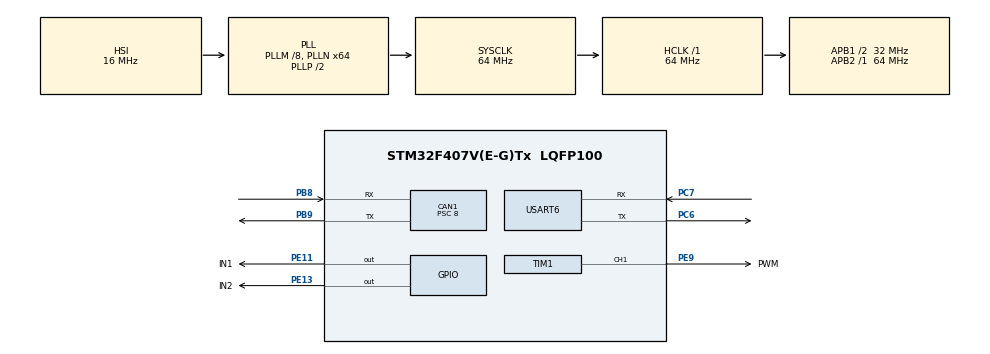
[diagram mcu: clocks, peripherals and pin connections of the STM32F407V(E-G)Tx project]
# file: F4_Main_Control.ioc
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CAN1.ABOM=ENABLE
CAN1.BS1=CAN_BS1_6TQ
CAN1.CalculateBaudRate=500000
CAN1.CalculateTimeBit=2000
CAN1.CalculateTimeQuantum=250.0
CAN1.NART=ENABLE
CAN1.Prescaler=8
Mcu.Family=STM32F4
Mcu.Name=STM32F407V(E-G)Tx
Mcu.Package=LQFP100
NVIC.CAN1_RX0_IRQn=true\:2\:0\:true\:false\:true\:true\:true\:true
NVIC.CAN1_RX1_IRQn=true\:2\:0\:true\:false\:true\:true\:true\:true
NVIC.CAN1_SCE_IRQn=true\:2\:0\:true\:false\:true\:true\:true\:true
NVIC.CAN1_TX_IRQn=true\:2\:0\:true\:false\:true\:true\:true\:true
NVIC.PriorityGroup=NVIC_PRIORITYGROUP_4
NVIC.TIM2_IRQn=true\:3\:0\:true\:false\:true\:true\:true\:true
PA13.Mode=Serial_Wire
PA13.Signal=SYS_JTMS-SWDIO
PA14.Mode=Serial_Wire
PA14.Signal=SYS_JTCK-SWCLK
PB8.Mode=CAN_Activate
PB8.Signal=CAN1_RX
PB9.Mode=CAN_Activate
PB9.Signal=CAN1_TX
PC6.Mode=Asynchronous
PC6.Signal=USART6_TX
PC7.Mode=Asynchronous
PC7.Signal=USART6_RX
PE11.GPIO_Label=IN1
PE11.Signal=GPIO_Output
PE13.GPIO_Label=IN2
PE13.Signal=GPIO_Output
PE9.GPIO_Label=PWM
PE9.Signal=S_TIM1_CH1
PH0-OSC_IN.Mode=HSE-External-Oscillator
PH0-OSC_IN.Signal=RCC_OSC_IN
PH1-OSC_OUT.Mode=HSE-External-Oscillator
PH1-OSC_OUT.Signal=RCC_OSC_OUT
ProjectManager.HeapSize=0x200
ProjectManager.StackSize=0x400
ProjectManager.TargetToolchain=Makefile
RCC.48MHZClocksFreq_Value=32000000
RCC.AHBFreq_Value=64000000
RCC.APB1CLKDivider=RCC_HCLK_DIV2
RCC.APB1Freq_Value=32000000
RCC.APB1TimFreq_Value=64000000
RCC.APB2Freq_Value=64000000
RCC.APB2TimFreq_Value=64000000
RCC.CortexFreq_Value=64000000
RCC.HCLKFreq_Value=64000000
RCC.HSE_VALUE=25000000
RCC.HSI_VALUE=16000000
RCC.LSE_VALUE=32768
RCC.PLLM=8
RCC.PLLN=64
RCC.SYSCLKFreq_VALUE=64000000
RCC.SYSCLKSource=RCC_SYSCLKSOURCE_PLLCLK
RCC.VCOOutputFreq_Value=128000000
SH.S_TIM1_CH1.0=TIM1_CH1,PWM Generation1 CH1
TIM1.Channel-PWM\ Generation1\ CH1=TIM_CHANNEL_1
TIM1.CounterMode=TIM_COUNTERMODE_UP
TIM1.Period=999
TIM1.Prescaler=63
TIM2.Period=999
TIM2.Prescaler=639
USART6.VirtualMode=VM_ASYNC
VP_TIM2_VS_ClockSourceINT.Mode=Internal
board=custom

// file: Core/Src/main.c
/* USER CODE BEGIN Header */
/**
  ******************************************************************************
  * @file           : main.c
  * @brief          : Main program body
  ******************************************************************************
  * @attention
  *
  * Copyright (c) 2025 STMicroelectronics.
  * All rights reserved.
  *
  * This software is licensed under terms that can be found in the LICENSE file
  * in the root directory of this software component.
  * If no LICENSE file comes with this software, it is provided AS-IS.
  *
  ******************************************************************************
  */
/* USER CODE END Header */
#include "main.h"

/* USER CODE BEGIN Includes */
#include "timer_software.h"
#include "stdio.h"
#include "string.h"
#include "stdlib.h"
#include "math.h"
#include <stdbool.h>
/* USER CODE END Includes */

CAN_HandleTypeDef hcan1;

TIM_HandleTypeDef htim1;
TIM_HandleTypeDef htim2;

UART_HandleTypeDef huart6;

void SystemClock_Config(void);
static void MX_GPIO_Init(void);
static void MX_CAN1_Init(void);
static void MX_TIM1_Init(void);
static void MX_TIM2_Init(void);
static void MX_USART6_UART_Init(void);
/* USER CODE BEGIN PFP */
#define V_MIN 0.5     // V min của TPS
#define V_MAX 2.97     // V_max TPS
#define ADC_MAX 4095
#define V_SUM 3.3f       // V_sum TPS
#define DT 0.001

float setpoint;      // Vị trí mong muốn (%)
float position;      // Vị trí thực tế (%)
float error;         // Lỗi (%)
float integral;      // Thành phần tích phân
float derivative;    // Thành phần đạo hàm
float previous_error;// Lỗi trước đó
float Kp;            // Hệ số tỉ lệ
float Ki;            // Hệ số tích phân
float Kd;          // Hệ số đạo hàm
float output;        // �?ầu ra PID (%)
volatile bool sensor_error = false; // C�? lỗi cảm biến
uint16_t TPS1;
uint16_t TPS2;

//----------------------------------------------------Control--------------------------------------------------

float adc_to_voltage(uint32_t adc_value) {
    return (float)adc_value * 3.3 / ADC_MAX; // Chuyển đổi giá trị ADC sang điện áp
}

float calculate_position(uint16_t adc_value) {
    float voltage = adc_to_voltage(adc_value);
    float position = (voltage - V_MIN) / (V_MAX - V_MIN) * 100;
    if (position < 0) position = 0;
    if (position > 100) position = 100;
    return position;
}

void PID_control() {
    error = setpoint - position;
    integral += error * DT;
    if (integral > 1000.0f) integral = 1000.0f;
    if (integral < -1000.0f) integral = -1000.0f;
    derivative = (error - previous_error) / DT;
    output = Kp * error + Ki * integral + Kd * derivative;
    previous_error = error;
    if (output > 100.0f) output = 100.0f;
    if (output < -100.0f) output = -100.0f;
}

void control_motor(float output) {
    if (output > 0) {
        HAL_GPIO_WritePin(IN1_GPIO_Port, IN1_Pin, GPIO_PIN_SET);
        HAL_GPIO_WritePin(IN2_GPIO_Port, IN2_Pin, GPIO_PIN_RESET);
        __HAL_TIM_SET_COMPARE(&htim1, TIM_CHANNEL_1, (uint16_t)(output * 10));
    } else if (output < 0) {
        HAL_GPIO_WritePin(IN1_GPIO_Port, IN1_Pin, GPIO_PIN_RESET);
        HAL_GPIO_WritePin(IN2_GPIO_Port, IN2_Pin, GPIO_PIN_SET);
        __HAL_TIM_SET_COMPARE(&htim1, TIM_CHANNEL_1, (uint16_t)(-output * 10));
    } else {
        HAL_GPIO_WritePin(IN1_GPIO_Port, IN1_Pin, GPIO_PIN_RESET);
        HAL_GPIO_WritePin(IN2_GPIO_Port, IN2_Pin, GPIO_PIN_RESET);
        __HAL_TIM_SET_COMPARE(&htim1, TIM_CHANNEL_1, 0);    // PWM = 0
    }
}

//---------------------------------------------CAN--------------------------------------------------

void debug_print(const char* msg) {
    HAL_UART_Transmit(&huart6, (uint8_t*)msg, strlen(msg), HAL_MAX_DELAY);
}
void CAN_Filter_Config(void) {
	CAN_FilterTypeDef filter;
	filter.FilterActivation = ENABLE;
	filter.FilterBank = 0;
	filter.FilterFIFOAssignment = CAN_RX_FIFO0;
	filter.FilterIdHigh = 0x100<<5;
	filter.FilterIdLow = 0x0000;
	filter.FilterMaskIdHigh = 0x100<<5;
	filter.FilterMaskIdLow = 0x0000;
	filter.FilterMode = CAN_FILTERMODE_IDMASK;
	filter.FilterScale = CAN_FILTERSCALE_32BIT;

	HAL_CAN_ConfigFilter(&hcan1, &filter);

  // Bộ l�?c cho ID 0x123 (FilterBank 1)
    filter.FilterBank = 1;                      // Sử dụng FilterBank 1
    filter.FilterMode = CAN_FILTERMODE_IDLIST;   // Chế độ danh sách ID
    filter.FilterScale = CAN_FILTERSCALE_32BIT;  // Quy mô bộ l�?c 32-bit
    filter.FilterIdHigh = 0x101 << 5;           // ID 0x123 (dịch trái 5 bit)
    filter.FilterIdLow = 0;                     // Không sử dụng ID thứ hai
    filter.FilterMaskIdHigh = 0x101<<5;                // Không dùng mặt nạ
    filter.FilterMaskIdLow = 0;                 // Không dùng mặt nạ
    filter.FilterFIFOAssignment = CAN_RX_FIFO0; // Gán vào FIFO0
    filter.FilterActivation = ENABLE;           // Kích hoạt bộ l�?c
    if (HAL_CAN_ConfigFilter(&hcan1, &filter) != HAL_OK) {
        debug_print("CAN Filter Config Failed (Bank 1)\r\n");
        Error_Handler();
    }

}

CAN_RxHeaderTypeDef rx_header;
void HAL_CAN_TxMailbox0CompleteCallback(CAN_HandleTypeDef *hcan)
{
		char buff[50];
		sprintf(buff, "Message Transmitted: M0\n");
		HAL_UART_Transmit(&huart6, (uint8_t *)buff, strlen(buff), HAL_MAX_DELAY);

}
void HAL_CAN_TxMailbox1CompleteCallback(CAN_HandleTypeDef *hcan)
{
		char buff[50];
		sprintf(buff, "Message Transmitted: M1\n");
		HAL_UART_Transmit(&huart6, (uint8_t *)buff, strlen(buff), HAL_MAX_DELAY);
}
void HAL_CAN_TxMailbox2CompleteCallback(CAN_HandleTypeDef *hcan)
{
		char buff[50];
		sprintf(buff, "Message Transmitted: M2\n");
		HAL_UART_Transmit(&huart6, (uint8_t *)buff, strlen(buff), HAL_MAX_DELAY);
}
void HAL_CAN_RxFifo0MsgPendingCallback(CAN_HandleTypeDef *hcan) {

    uint8_t rx_data[4];
    char msg[80];

    if (HAL_CAN_GetRxMessage(hcan, CAN_RX_FIFO0, &rx_header, rx_data) == HAL_OK) {
        if (rx_header.StdId == 0x100) {
            TPS1 = (rx_data[1] << 8) | rx_data[0];
            TPS2 = (rx_data[3] << 8) | rx_data[2];
            snprintf(msg, sizeof(msg), "Received TPS1=%u, TPS2=%u\r\n", TPS1, TPS2);
            debug_print(msg);
        }
        else if (rx_header.StdId == 0x101) {
            setpoint = rx_data[0];
            Ki = rx_data[1];
            Kp = rx_data[2];
            Kd = rx_data [3];

            Ki = Ki*10/256;
            Kp = Kp*10/256;
            Kd = Kd*10/256;
            snprintf(msg, sizeof(msg), "CAN: setpoint=%.2f, Ki=%.2f, Kp=%.2f, Ki=%.2f\r\n", setpoint, Kd, Kp, Ki);
            debug_print(msg);
        }
    }
}

void HAL_TIM_PeriodElapsedCallback(TIM_HandleTypeDef *htim) {
  timer_run();
}

/* USER CODE END PFP */

int main(void)
{

  /* MCU Configuration--------------------------------------------------------*/

  /* Reset of all peripherals, Initializes the Flash interface and the Systick. */
  HAL_Init();

  /* Configure the system clock */
  SystemClock_Config();

  /* Initialize all configured peripherals */
  MX_GPIO_Init();
  MX_CAN1_Init();
  MX_TIM1_Init();
  MX_TIM2_Init();
  MX_USART6_UART_Init();
  /* USER CODE BEGIN 2 */
  CAN_Filter_Config();
    if (HAL_CAN_Start(&hcan1) != HAL_OK) {
        debug_print("CAN Start Failed\r\n");
        Error_Handler();
    }
    HAL_CAN_ActivateNotification(&hcan1, CAN_IT_TX_MAILBOX_EMPTY | CAN_IT_RX_FIFO0_MSG_PENDING | CAN_IT_BUSOFF );
    HAL_TIM_PWM_Start(&htim1, TIM_CHANNEL_1);
    HAL_TIM_Base_Start_IT(&htim2);
    set_timer(0, 10);
  /* USER CODE END 2 */

  /* Infinite loop */
  /* USER CODE BEGIN WHILE */
  while (1)
  {
    if(timerFLag[0] == 1)
    {
      position = calculate_position(TPS1);

      PID_control();
      control_motor(output);
      set_timer(0, 10);
    }

    /* USER CODE END WHILE */

  }
}

void SystemClock_Config(void)
{
  RCC_OscInitTypeDef RCC_OscInitStruct = {0};
  RCC_ClkInitTypeDef RCC_ClkInitStruct = {0};

  /** Configure the main internal regulator output voltage
  */
  __HAL_RCC_PWR_CLK_ENABLE();
  __HAL_PWR_VOLTAGESCALING_CONFIG(PWR_REGULATOR_VOLTAGE_SCALE1);

  /** Initializes the RCC Oscillators according to the specified parameters
  * in the RCC_OscInitTypeDef structure.
  */
  RCC_OscInitStruct.OscillatorType = RCC_OSCILLATORTYPE_HSI;
  RCC_OscInitStruct.HSIState = RCC_HSI_ON;
  RCC_OscInitStruct.HSICalibrationValue = RCC_HSICALIBRATION_DEFAULT;
  RCC_OscInitStruct.PLL.PLLState = RCC_PLL_ON;
  RCC_OscInitStruct.PLL.PLLSource = RCC_PLLSOURCE_HSI;
  RCC_OscInitStruct.PLL.PLLM = 8;
  RCC_OscInitStruct.PLL.PLLN = 64;
  RCC_OscInitStruct.PLL.PLLP = RCC_PLLP_DIV2;
  RCC_OscInitStruct.PLL.PLLQ = 4;
  if (HAL_RCC_OscConfig(&RCC_OscInitStruct) != HAL_OK)
  {
    Error_Handler();
  }

  /** Initializes the CPU, AHB and APB buses clocks
  */
  RCC_ClkInitStruct.ClockType = RCC_CLOCKTYPE_HCLK|RCC_CLOCKTYPE_SYSCLK
                              |RCC_CLOCKTYPE_PCLK1|RCC_CLOCKTYPE_PCLK2;
  RCC_ClkInitStruct.SYSCLKSource = RCC_SYSCLKSOURCE_PLLCLK;
  RCC_ClkInitStruct.AHBCLKDivider = RCC_SYSCLK_DIV1;
  RCC_ClkInitStruct.APB1CLKDivider = RCC_HCLK_DIV2;
  RCC_ClkInitStruct.APB2CLKDivider = RCC_HCLK_DIV1;

  if (HAL_RCC_ClockConfig(&RCC_ClkInitStruct, FLASH_LATENCY_2) != HAL_OK)
  {
    Error_Handler();
  }
}

static void MX_CAN1_Init(void)
{

  hcan1.Instance = CAN1;
  hcan1.Init.Prescaler = 8;
  hcan1.Init.Mode = CAN_MODE_NORMAL;
  hcan1.Init.SyncJumpWidth = CAN_SJW_1TQ;
  hcan1.Init.TimeSeg1 = CAN_BS1_6TQ;
  hcan1.Init.TimeSeg2 = CAN_BS2_1TQ;
  hcan1.Init.TimeTriggeredMode = DISABLE;
  hcan1.Init.AutoBusOff = ENABLE;
  hcan1.Init.AutoWakeUp = DISABLE;
  hcan1.Init.AutoRetransmission = ENABLE;
  hcan1.Init.ReceiveFifoLocked = DISABLE;
  hcan1.Init.TransmitFifoPriority = DISABLE;
  if (HAL_CAN_Init(&hcan1) != HAL_OK)
  {
    Error_Handler();
  }

}

static void MX_TIM1_Init(void)
{

  TIM_MasterConfigTypeDef sMasterConfig = {0};
  TIM_OC_InitTypeDef sConfigOC = {0};
  TIM_BreakDeadTimeConfigTypeDef sBreakDeadTimeConfig = {0};

  htim1.Instance = TIM1;
  htim1.Init.Prescaler = 63;
  htim1.Init.CounterMode = TIM_COUNTERMODE_UP;
  htim1.Init.Period = 999;
  htim1.Init.ClockDivision = TIM_CLOCKDIVISION_DIV1;
  htim1.Init.RepetitionCounter = 0;
  htim1.Init.AutoReloadPreload = TIM_AUTORELOAD_PRELOAD_DISABLE;
  if (HAL_TIM_PWM_Init(&htim1) != HAL_OK)
  {
    Error_Handler();
  }
  sMasterConfig.MasterOutputTrigger = TIM_TRGO_RESET;
  sMasterConfig.MasterSlaveMode = TIM_MASTERSLAVEMODE_DISABLE;
  if (HAL_TIMEx_MasterConfigSynchronization(&htim1, &sMasterConfig) != HAL_OK)
  {
    Error_Handler();
  }
  sConfigOC.OCMode = TIM_OCMODE_PWM1;
  sConfigOC.Pulse = 0;
  sConfigOC.OCPolarity = TIM_OCPOLARITY_HIGH;
  sConfigOC.OCNPolarity = TIM_OCNPOLARITY_HIGH;
  sConfigOC.OCFastMode = TIM_OCFAST_DISABLE;
  sConfigOC.OCIdleState = TIM_OCIDLESTATE_RESET;
  sConfigOC.OCNIdleState = TIM_OCNIDLESTATE_RESET;
  if (HAL_TIM_PWM_ConfigChannel(&htim1, &sConfigOC, TIM_CHANNEL_1) != HAL_OK)
  {
    Error_Handler();
  }
  sBreakDeadTimeConfig.OffStateRunMode = TIM_OSSR_DISABLE;
  sBreakDeadTimeConfig.OffStateIDLEMode = TIM_OSSI_DISABLE;
  sBreakDeadTimeConfig.LockLevel = TIM_LOCKLEVEL_OFF;
  sBreakDeadTimeConfig.DeadTime = 0;
  sBreakDeadTimeConfig.BreakState = TIM_BREAK_DISABLE;
  sBreakDeadTimeConfig.BreakPolarity = TIM_BREAKPOLARITY_HIGH;
  sBreakDeadTimeConfig.AutomaticOutput = TIM_AUTOMATICOUTPUT_DISABLE;
  if (HAL_TIMEx_ConfigBreakDeadTime(&htim1, &sBreakDeadTimeConfig) != HAL_OK)
  {
    Error_Handler();
  }
  HAL_TIM_MspPostInit(&htim1);

}

static void MX_TIM2_Init(void)
{

  TIM_ClockConfigTypeDef sClockSourceConfig = {0};
  TIM_MasterConfigTypeDef sMasterConfig = {0};

  htim2.Instance = TIM2;
  htim2.Init.Prescaler = 639;
  htim2.Init.CounterMode = TIM_COUNTERMODE_UP;
  htim2.Init.Period = 999;
  htim2.Init.ClockDivision = TIM_CLOCKDIVISION_DIV1;
  htim2.Init.AutoReloadPreload = TIM_AUTORELOAD_PRELOAD_DISABLE;
  if (HAL_TIM_Base_Init(&htim2) != HAL_OK)
  {
    Error_Handler();
  }
  sClockSourceConfig.ClockSource = TIM_CLOCKSOURCE_INTERNAL;
  if (HAL_TIM_ConfigClockSource(&htim2, &sClockSourceConfig) != HAL_OK)
  {
    Error_Handler();
  }
  sMasterConfig.MasterOutputTrigger = TIM_TRGO_RESET;
  sMasterConfig.MasterSlaveMode = TIM_MASTERSLAVEMODE_DISABLE;
  if (HAL_TIMEx_MasterConfigSynchronization(&htim2, &sMasterConfig) != HAL_OK)
  {
    Error_Handler();
  }

}

static void MX_USART6_UART_Init(void)
{

  huart6.Instance = USART6;
  huart6.Init.BaudRate = 115200;
  huart6.Init.WordLength = UART_WORDLENGTH_8B;
  huart6.Init.StopBits = UART_STOPBITS_1;
  huart6.Init.Parity = UART_PARITY_NONE;
  huart6.Init.Mode = UART_MODE_TX_RX;
  huart6.Init.HwFlowCtl = UART_HWCONTROL_NONE;
  huart6.Init.OverSampling = UART_OVERSAMPLING_16;
  if (HAL_UART_Init(&huart6) != HAL_OK)
  {
    Error_Handler();
  }

}

static void MX_GPIO_Init(void)
{
  GPIO_InitTypeDef GPIO_InitStruct = {0};

  /* GPIO Ports Clock Enable */
  __HAL_RCC_GPIOH_CLK_ENABLE();
  __HAL_RCC_GPIOE_CLK_ENABLE();
  __HAL_RCC_GPIOC_CLK_ENABLE();
  __HAL_RCC_GPIOA_CLK_ENABLE();
  __HAL_RCC_GPIOB_CLK_ENABLE();

  /*Configure GPIO pin Output Level */
  HAL_GPIO_WritePin(GPIOE, IN1_Pin|IN2_Pin, GPIO_PIN_RESET);

  /*Configure GPIO pins : IN1_Pin IN2_Pin */
  GPIO_InitStruct.Pin = IN1_Pin|IN2_Pin;
  GPIO_InitStruct.Mode = GPIO_MODE_OUTPUT_PP;
  GPIO_InitStruct.Pull = GPIO_NOPULL;
  GPIO_InitStruct.Speed = GPIO_SPEED_FREQ_LOW;
  HAL_GPIO_Init(GPIOE, &GPIO_InitStruct);

}

void Error_Handler(void)
{
  __disable_irq();
  while (1)
  {
  }
}
